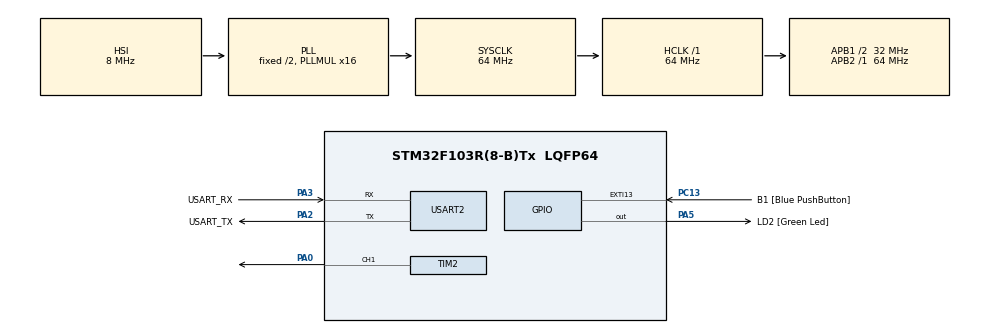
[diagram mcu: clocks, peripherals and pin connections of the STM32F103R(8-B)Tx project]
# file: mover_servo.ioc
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Mcu.Family=STM32F1
Mcu.Name=STM32F103R(8-B)Tx
Mcu.Package=LQFP64
NVIC.EXTI15_10_IRQn=true\:0\:0\:false\:false\:true\:true\:true\:true
NVIC.PriorityGroup=NVIC_PRIORITYGROUP_4
PA0-WKUP.Signal=S_TIM2_CH1_ETR
PA13.GPIO_Label=TMS
PA13.Mode=Serial_Wire
PA13.Signal=SYS_JTMS-SWDIO
PA14.GPIO_Label=TCK
PA14.Mode=Serial_Wire
PA14.Signal=SYS_JTCK-SWCLK
PA2.GPIO_Label=USART_TX
PA2.GPIO_Mode=GPIO_MODE_AF_PP
PA2.GPIO_PuPd=GPIO_NOPULL
PA2.GPIO_Speed=GPIO_SPEED_FREQ_LOW
PA2.Mode=Asynchronous
PA2.Signal=USART2_TX
PA3.GPIO_Label=USART_RX
PA3.GPIO_Mode=GPIO_MODE_AF_PP
PA3.GPIO_PuPd=GPIO_NOPULL
PA3.GPIO_Speed=GPIO_SPEED_FREQ_LOW
PA3.Mode=Asynchronous
PA3.Signal=USART2_RX
PA5.GPIO_Label=LD2 [Green Led]
PA5.GPIO_ModeDefaultOutputPP=GPIO_MODE_OUTPUT_PP
PA5.GPIO_PuPd=GPIO_NOPULL
PA5.GPIO_Speed=GPIO_SPEED_FREQ_LOW
PA5.Signal=GPIO_Output
PB3.GPIO_Label=SWO
PB3.Signal=SYS_JTDO-TRACESWO
PC13-TAMPER-RTC.GPIO_Label=B1 [Blue PushButton]
PC13-TAMPER-RTC.GPIO_PuPd=GPIO_NOPULL
PC13-TAMPER-RTC.Signal=GPXTI13
PC14-OSC32_IN.Mode=LSE-External-Oscillator
PC14-OSC32_IN.Signal=RCC_OSC32_IN
PC15-OSC32_OUT.Mode=LSE-External-Oscillator
PC15-OSC32_OUT.Signal=RCC_OSC32_OUT
PD0-OSC_IN.Mode=HSE-External-Clock-Source
PD0-OSC_IN.Signal=RCC_OSC_IN
PD1-OSC_OUT.Mode=HSE-External-Clock-Source
PD1-OSC_OUT.Signal=RCC_OSC_OUT
ProjectManager.HeapSize=0x200
ProjectManager.StackSize=0x400
ProjectManager.TargetToolchain=STM32CubeIDE
RCC.AHBFreq_Value=64000000
RCC.APB1CLKDivider=RCC_HCLK_DIV2
RCC.APB1Freq_Value=32000000
RCC.APB1TimFreq_Value=64000000
RCC.APB2Freq_Value=64000000
RCC.APB2TimFreq_Value=64000000
RCC.HCLKFreq_Value=64000000
RCC.PLLMUL=RCC_PLL_MUL16
RCC.RTCClockSelection=RCC_RTCCLKSOURCE_LSE
RCC.SYSCLKFreq_VALUE=64000000
RCC.SYSCLKSource=RCC_SYSCLKSOURCE_PLLCLK
RCC.USBFreq_Value=64000000
SH.S_TIM2_CH1_ETR.0=TIM2_CH1,PWM Generation1 CH1
TIM2.Channel-PWM\ Generation1\ CH1=TIM_CHANNEL_1
TIM2.Period=20000-1
TIM2.Prescaler=64-1
TIM2.Pulse-PWM\ Generation1\ CH1=1500
USART2.VirtualMode=VM_ASYNC
board=NUCLEO-F103RB

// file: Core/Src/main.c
/* USER CODE BEGIN Header */
/**
  ******************************************************************************
  * @file           : main.c
  * @brief          : Main program body
  ******************************************************************************
  * @attention
  *
  * Copyright (c) 2026 STMicroelectronics.
  * All rights reserved.
  *
  * This software is licensed under terms that can be found in the LICENSE file
  * in the root directory of this software component.
  * If no LICENSE file comes with this software, it is provided AS-IS.
  *
  ******************************************************************************
  */
/* USER CODE END Header */
#include "main.h"

/* USER CODE BEGIN Includes */
#include <stdio.h>
#include <string.h>
#include <stdarg.h>
/* USER CODE END Includes */

TIM_HandleTypeDef htim2;

UART_HandleTypeDef huart2;

void SystemClock_Config(void);
static void MX_GPIO_Init(void);
static void MX_USART2_UART_Init(void);
static void MX_TIM2_Init(void);

/* USER CODE BEGIN 0 */
static void uart_print(const char *s)
{
  HAL_UART_Transmit(&huart2, (uint8_t*)s, (uint16_t)strlen(s), HAL_MAX_DELAY);
}

static void uart_printf(const char *fmt, ...)
{
  char buf[256];
  va_list args;
  va_start(args, fmt);
  vsnprintf(buf, sizeof(buf), fmt, args);
  va_end(args);
  uart_print(buf);
}

// --- SERVO PWM on TIM2 CH1 (PA0) ---
// Assumes timer tick = 1 us and ARR = 19999 (20 ms period)

#define SERVO_MIN_US 1000
#define SERVO_MAX_US 2000
#define SERVO_CENTER_US 1500

static void servo_write_us(uint16_t us)
{
  if (us < SERVO_MIN_US) us = SERVO_MIN_US;
  if (us > SERVO_MAX_US) us = SERVO_MAX_US;
  __HAL_TIM_SET_COMPARE(&htim2, TIM_CHANNEL_1, us);
}

// For a normal 180° servo (SG90):
static void servo_write_deg(float deg)
{
  if (deg < 0.0f) deg = 0.0f;
  if (deg > 180.0f) deg = 180.0f;
  uint16_t us = (uint16_t)(SERVO_MIN_US + (deg / 180.0f) * (SERVO_MAX_US - SERVO_MIN_US));
  servo_write_us(us);
}

// For a continuous-rotation servo (DM-S0090D style):
// command in [-1..+1]: negative = one direction, positive = the other, 0 = stop
static void servo_write_speed(float cmd)
{
  if (cmd < -1.0f) cmd = -1.0f;
  if (cmd >  1.0f) cmd =  1.0f;

  // Map to pulse around center. Tune range if needed (e.g., 1400..1600 for gentler).
  float span = 400.0f; // us, gives 1100..1900
  uint16_t us = (uint16_t)(SERVO_CENTER_US + cmd * span);
  servo_write_us(us);
}
/* USER CODE END 0 */

int main(void)
{

  /* MCU Configuration--------------------------------------------------------*/

  /* Reset of all peripherals, Initializes the Flash interface and the Systick. */
  HAL_Init();

  /* Configure the system clock */
  SystemClock_Config();

  /* Initialize all configured peripherals */
  MX_GPIO_Init();
  MX_USART2_UART_Init();
  MX_TIM2_Init();
  /* USER CODE BEGIN 2 */
  HAL_TIM_PWM_Start(&htim2, TIM_CHANNEL_1);

  // Put servo at center/stop
  servo_write_us(SERVO_CENTER_US);

  uart_print("Servo PWM started\r\n");
  /* USER CODE END 2 */

  /* Infinite loop */
  /* USER CODE BEGIN WHILE */
  while (1)
  {
	  for (int a = 0; a <= 180; a += 5) {
		  servo_write_deg((float)a);
		  HAL_Delay(300);
	  }
	  for (int a = 180; a >= 0; a -= 5) {
		  servo_write_deg((float)a);
		  HAL_Delay(300);
	  }
    /* USER CODE END WHILE */

  }
}

void SystemClock_Config(void)
{
  RCC_OscInitTypeDef RCC_OscInitStruct = {0};
  RCC_ClkInitTypeDef RCC_ClkInitStruct = {0};

  /** Initializes the RCC Oscillators according to the specified parameters
  * in the RCC_OscInitTypeDef structure.
  */
  RCC_OscInitStruct.OscillatorType = RCC_OSCILLATORTYPE_HSI;
  RCC_OscInitStruct.HSIState = RCC_HSI_ON;
  RCC_OscInitStruct.HSICalibrationValue = RCC_HSICALIBRATION_DEFAULT;
  RCC_OscInitStruct.PLL.PLLState = RCC_PLL_ON;
  RCC_OscInitStruct.PLL.PLLSource = RCC_PLLSOURCE_HSI_DIV2;
  RCC_OscInitStruct.PLL.PLLMUL = RCC_PLL_MUL16;
  if (HAL_RCC_OscConfig(&RCC_OscInitStruct) != HAL_OK)
  {
    Error_Handler();
  }

  /** Initializes the CPU, AHB and APB buses clocks
  */
  RCC_ClkInitStruct.ClockType = RCC_CLOCKTYPE_HCLK|RCC_CLOCKTYPE_SYSCLK
                              |RCC_CLOCKTYPE_PCLK1|RCC_CLOCKTYPE_PCLK2;
  RCC_ClkInitStruct.SYSCLKSource = RCC_SYSCLKSOURCE_PLLCLK;
  RCC_ClkInitStruct.AHBCLKDivider = RCC_SYSCLK_DIV1;
  RCC_ClkInitStruct.APB1CLKDivider = RCC_HCLK_DIV2;
  RCC_ClkInitStruct.APB2CLKDivider = RCC_HCLK_DIV1;

  if (HAL_RCC_ClockConfig(&RCC_ClkInitStruct, FLASH_LATENCY_2) != HAL_OK)
  {
    Error_Handler();
  }
}

static void MX_TIM2_Init(void)
{

  TIM_MasterConfigTypeDef sMasterConfig = {0};
  TIM_OC_InitTypeDef sConfigOC = {0};

  htim2.Instance = TIM2;
  htim2.Init.Prescaler = 64-1;
  htim2.Init.CounterMode = TIM_COUNTERMODE_UP;
  htim2.Init.Period = 20000-1;
  htim2.Init.ClockDivision = TIM_CLOCKDIVISION_DIV1;
  htim2.Init.AutoReloadPreload = TIM_AUTORELOAD_PRELOAD_DISABLE;
  if (HAL_TIM_PWM_Init(&htim2) != HAL_OK)
  {
    Error_Handler();
  }
  sMasterConfig.MasterOutputTrigger = TIM_TRGO_RESET;
  sMasterConfig.MasterSlaveMode = TIM_MASTERSLAVEMODE_DISABLE;
  if (HAL_TIMEx_MasterConfigSynchronization(&htim2, &sMasterConfig) != HAL_OK)
  {
    Error_Handler();
  }
  sConfigOC.OCMode = TIM_OCMODE_PWM1;
  sConfigOC.Pulse = 1500;
  sConfigOC.OCPolarity = TIM_OCPOLARITY_HIGH;
  sConfigOC.OCFastMode = TIM_OCFAST_DISABLE;
  if (HAL_TIM_PWM_ConfigChannel(&htim2, &sConfigOC, TIM_CHANNEL_1) != HAL_OK)
  {
    Error_Handler();
  }
  HAL_TIM_MspPostInit(&htim2);

}

static void MX_USART2_UART_Init(void)
{

  huart2.Instance = USART2;
  huart2.Init.BaudRate = 115200;
  huart2.Init.WordLength = UART_WORDLENGTH_8B;
  huart2.Init.StopBits = UART_STOPBITS_1;
  huart2.Init.Parity = UART_PARITY_NONE;
  huart2.Init.Mode = UART_MODE_TX_RX;
  huart2.Init.HwFlowCtl = UART_HWCONTROL_NONE;
  huart2.Init.OverSampling = UART_OVERSAMPLING_16;
  if (HAL_UART_Init(&huart2) != HAL_OK)
  {
    Error_Handler();
  }

}

static void MX_GPIO_Init(void)
{
  GPIO_InitTypeDef GPIO_InitStruct = {0};

  /* GPIO Ports Clock Enable */
  __HAL_RCC_GPIOC_CLK_ENABLE();
  __HAL_RCC_GPIOD_CLK_ENABLE();
  __HAL_RCC_GPIOA_CLK_ENABLE();
  __HAL_RCC_GPIOB_CLK_ENABLE();

  /*Configure GPIO pin Output Level */
  HAL_GPIO_WritePin(LD2_GPIO_Port, LD2_Pin, GPIO_PIN_RESET);

  /*Configure GPIO pin : B1_Pin */
  GPIO_InitStruct.Pin = B1_Pin;
  GPIO_InitStruct.Mode = GPIO_MODE_IT_RISING;
  GPIO_InitStruct.Pull = GPIO_NOPULL;
  HAL_GPIO_Init(B1_GPIO_Port, &GPIO_InitStruct);

  /*Configure GPIO pin : LD2_Pin */
  GPIO_InitStruct.Pin = LD2_Pin;
  GPIO_InitStruct.Mode = GPIO_MODE_OUTPUT_PP;
  GPIO_InitStruct.Pull = GPIO_NOPULL;
  GPIO_InitStruct.Speed = GPIO_SPEED_FREQ_LOW;
  HAL_GPIO_Init(LD2_GPIO_Port, &GPIO_InitStruct);

  /* EXTI interrupt init*/
  HAL_NVIC_SetPriority(EXTI15_10_IRQn, 0, 0);
  HAL_NVIC_EnableIRQ(EXTI15_10_IRQn);

}

void Error_Handler(void)
{
  __disable_irq();
  while (1)
  {
  }
}
